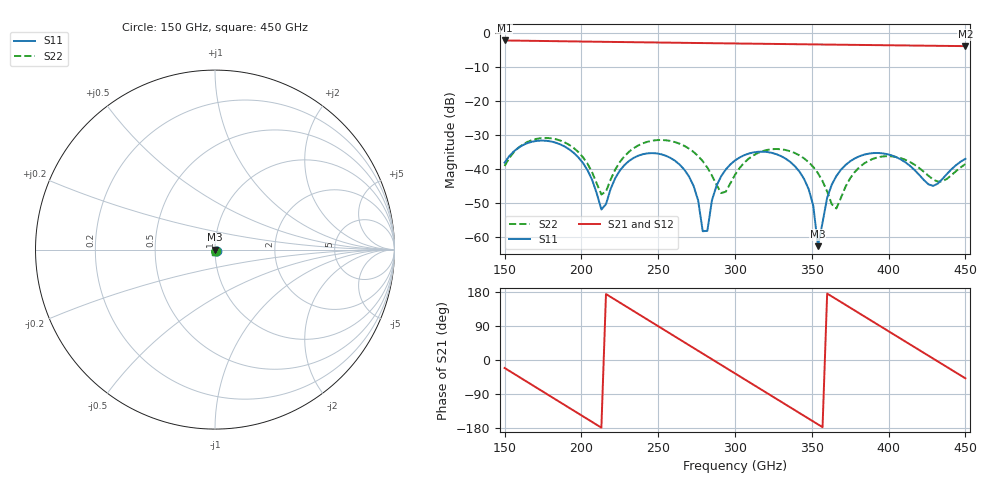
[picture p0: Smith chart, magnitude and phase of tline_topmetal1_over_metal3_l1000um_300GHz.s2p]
#  GHZ S DB R 50
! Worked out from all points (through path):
!   101 points, 150 GHz to 450 GHz, reference 50 ohm
!   highest |S21| = -2.29 dB at 150 GHz (marker M1); lowest = -4.0 dB at 450 GHz (marker M2)
!   group delay of S21, straight-line fit = 6.92 ps
!   lowest |S11| = -62.8 dB at 354 GHz (marker M3), VSWR 1.00, Z = 49.9 - j0.0369 ohm
!   |S11| at or under -10 dB: start of sweep to end of sweep
!   |S22| runs from -51.7 to -30.9 dB; largest |S21 - S12| = 8.4e-14
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150  -38.20 -33.1  -2.29 -21.1  -2.29 -21.1  -39.20 -40.7
177  -31.76 -89.0  -2.46 -88.6  -2.46 -88.6  -30.94 -90.2
201  -38.30 -141.3  -2.61 -148.6  -2.61 -148.6  -36.59 -139.2
213  -51.97 -111.7  -2.68 -178.5  -2.68 -178.5  -47.57 -109.5
228  -38.92 -51.2  -2.77 144.1  -2.77 144.1  -36.33 -55.4
252  -35.75 -105.1  -2.90 84.2  -2.90 84.2  -31.55 -104.6
270  -42.24 -147.6  -3.01 39.3  -3.01 39.3  -34.06 -142.9
276  -49.30 -158.7  -3.04 24.4  -3.04 24.4  -36.27 -153.4
279  -58.37 -153.3  -3.06 16.9  -3.06 16.9  -37.77 -157.3
282  -58.25 -19.9  -3.07 9.4  -3.07 9.4  -39.65 -159.5
291  -42.19 -25.9  -3.12 -13.0  -3.12 -13.0  -47.13 -129.1
300  -37.57 -47.0  -3.17 -35.4  -3.17 -35.4  -41.78 -77.8
333  -37.04 -127.8  -3.35 -117.6  -3.35 -117.6  -34.49 -132.7
351  -50.93 -165.9  -3.45 -162.3  -3.45 -162.3  -39.50 -167.1
354  -62.76 -149.5  -3.46 -169.8  -3.46 -169.8  -41.30 -170.7
360  -48.52 -21.3  -3.49 175.3  -3.49 175.3  -46.70 -168.2
366  -42.13 -32.7  -3.53 160.4  -3.53 160.4  -51.68 -112.0
369  -40.28 -39.4  -3.54 152.9  -3.54 152.9  -48.51 -84.5
381  -36.33 -66.8  -3.60 123.1  -3.60 123.1  -39.53 -82.5
402  -36.08 -111.8  -3.71 70.9  -3.71 70.9  -36.35 -120.3
429  -45.04 -103.0  -3.85 3.8  -3.85 3.8  -43.14 -134.3
450  -37.07 -86.1  -3.95 -48.4  -3.95 -48.4  -38.61 -99.5
